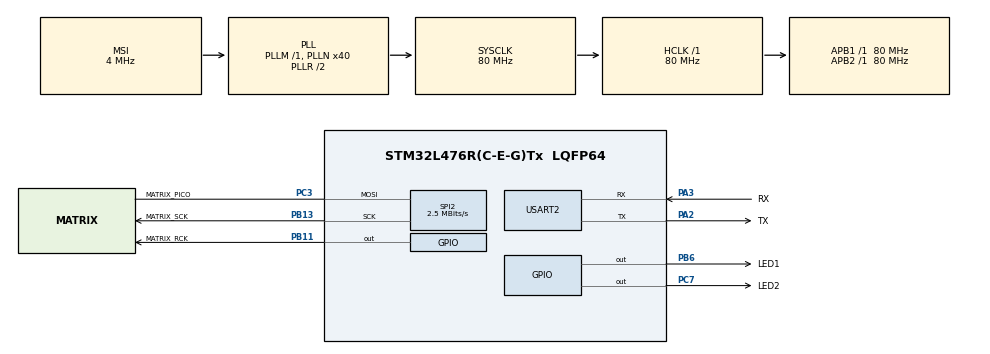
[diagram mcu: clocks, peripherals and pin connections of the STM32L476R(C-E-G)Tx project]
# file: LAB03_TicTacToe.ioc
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Mcu.Family=STM32L4
Mcu.Name=STM32L476R(C-E-G)Tx
Mcu.Package=LQFP64
NVIC.PriorityGroup=NVIC_PRIORITYGROUP_4
PA2.GPIO_Label=TX
PA2.Mode=Asynchronous
PA2.Signal=USART2_TX
PA3.GPIO_Label=RX
PA3.Mode=Asynchronous
PA3.Signal=USART2_RX
PB11.GPIO_Label=MATRIX_RCK
PB11.Signal=GPIO_Output
PB13.GPIO_Label=MATRIX_SCK
PB13.Mode=Simplex_Bidirectional_Master
PB13.Signal=SPI2_SCK
PB6.GPIO_Label=LED1
PB6.Signal=GPIO_Output
PC3.GPIO_Label=MATRIX_PICO
PC3.Mode=Simplex_Bidirectional_Master
PC3.Signal=SPI2_MOSI
PC7.GPIO_Label=LED2
PC7.Signal=GPIO_Output
ProjectManager.HeapSize=0x200
ProjectManager.StackSize=0x400
ProjectManager.TargetToolchain=STM32CubeIDE
RCC.ADCFreq_Value=32000000
RCC.AHBFreq_Value=80000000
RCC.APB1Freq_Value=80000000
RCC.APB1TimFreq_Value=80000000
RCC.APB2Freq_Value=80000000
RCC.APB2TimFreq_Value=80000000
RCC.CortexFreq_Value=80000000
RCC.HCLKFreq_Value=80000000
RCC.HSE_VALUE=8000000
RCC.HSI_VALUE=16000000
RCC.LSE_VALUE=32768
RCC.MSI_VALUE=4000000
RCC.PLLN=40
RCC.PLLSAI1N=16
RCC.SYSCLKFreq_VALUE=80000000
RCC.SYSCLKSource=RCC_SYSCLKSOURCE_PLLCLK
RCC.USBFreq_Value=32000000
RCC.VCOOutputFreq_Value=160000000
SPI2.BaudRatePrescaler=SPI_BAUDRATEPRESCALER_32
SPI2.CalculateBaudRate=2.5 MBits/s
SPI2.DataSize=SPI_DATASIZE_8BIT
SPI2.Direction=SPI_DIRECTION_1LINE
SPI2.Mode=SPI_MODE_MASTER
SPI2.VirtualType=VM_MASTER
USART2.VirtualMode-Asynchronous=VM_ASYNC
VP_RNG_VS_RNG.Mode=RNG_Activate
board=custom

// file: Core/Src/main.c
/* USER CODE BEGIN Header */
/**
 ******************************************************************************main.c
 * @file           : main.c
 * @brief          : Main program body
 ******************************************************************************
 * @attention
 *
 * Copyright (c) 2023 STMicroelectronics.
 * All rights reserved.
 *
 * This software is licensed under terms that can be found in the LICENSE file
 * in the root directory of this software component.
 * If no LICENSE file comes with this software, it is provided AS-IS.
 *
 ******************************************************************************
 */
/* USER CODE END Header */
#include "main.h"

/* USER CODE BEGIN Includes */
#include "tictactoe.h"
/* USER CODE END Includes */

RNG_HandleTypeDef hrng;

SPI_HandleTypeDef hspi2;

UART_HandleTypeDef huart2;

void SystemClock_Config(void);
static void MX_GPIO_Init(void);
static void MX_SPI2_Init(void);
static void MX_RNG_Init(void);
static void MX_USART2_UART_Init(void);

int main(void) {

  /* MCU Configuration--------------------------------------------------------*/

  /* Reset of all peripherals, Initializes the Flash interface and the Systick. */
  HAL_Init();

  /* Configure the system clock */
  SystemClock_Config();

  /* Initialize all configured peripherals */
  MX_GPIO_Init();
  MX_SPI2_Init();
  MX_RNG_Init();
  MX_USART2_UART_Init();
  /* USER CODE BEGIN 2 */

  tictactoe_run(); // Never returns

  /* USER CODE END 2 */

  /* Infinite loop */

}

void SystemClock_Config(void) {
  RCC_OscInitTypeDef RCC_OscInitStruct = {0};
  RCC_ClkInitTypeDef RCC_ClkInitStruct = {0};

  /** Configure the main internal regulator output voltage
   */
  if (HAL_PWREx_ControlVoltageScaling(PWR_REGULATOR_VOLTAGE_SCALE1) != HAL_OK) {
    Error_Handler();
  }

  /** Initializes the RCC Oscillators according to the specified parameters
   * in the RCC_OscInitTypeDef structure.
   */
  RCC_OscInitStruct.OscillatorType = RCC_OSCILLATORTYPE_MSI;
  RCC_OscInitStruct.MSIState = RCC_MSI_ON;
  RCC_OscInitStruct.MSICalibrationValue = 0;
  RCC_OscInitStruct.MSIClockRange = RCC_MSIRANGE_6;
  RCC_OscInitStruct.PLL.PLLState = RCC_PLL_ON;
  RCC_OscInitStruct.PLL.PLLSource = RCC_PLLSOURCE_MSI;
  RCC_OscInitStruct.PLL.PLLM = 1;
  RCC_OscInitStruct.PLL.PLLN = 40;
  RCC_OscInitStruct.PLL.PLLP = RCC_PLLP_DIV7;
  RCC_OscInitStruct.PLL.PLLQ = RCC_PLLQ_DIV2;
  RCC_OscInitStruct.PLL.PLLR = RCC_PLLR_DIV2;
  if (HAL_RCC_OscConfig(&RCC_OscInitStruct) != HAL_OK) {
    Error_Handler();
  }

  /** Initializes the CPU, AHB and APB buses clocks
   */
  RCC_ClkInitStruct.ClockType = RCC_CLOCKTYPE_HCLK | RCC_CLOCKTYPE_SYSCLK | RCC_CLOCKTYPE_PCLK1 | RCC_CLOCKTYPE_PCLK2;
  RCC_ClkInitStruct.SYSCLKSource = RCC_SYSCLKSOURCE_PLLCLK;
  RCC_ClkInitStruct.AHBCLKDivider = RCC_SYSCLK_DIV1;
  RCC_ClkInitStruct.APB1CLKDivider = RCC_HCLK_DIV1;
  RCC_ClkInitStruct.APB2CLKDivider = RCC_HCLK_DIV1;

  if (HAL_RCC_ClockConfig(&RCC_ClkInitStruct, FLASH_LATENCY_4) != HAL_OK) {
    Error_Handler();
  }
}

static void MX_RNG_Init(void) {

  hrng.Instance = RNG;
  if (HAL_RNG_Init(&hrng) != HAL_OK) {
    Error_Handler();
  }
}

static void MX_SPI2_Init(void) {

  /* SPI2 parameter configuration*/
  hspi2.Instance = SPI2;
  hspi2.Init.Mode = SPI_MODE_MASTER;
  hspi2.Init.Direction = SPI_DIRECTION_1LINE;
  hspi2.Init.DataSize = SPI_DATASIZE_8BIT;
  hspi2.Init.CLKPolarity = SPI_POLARITY_LOW;
  hspi2.Init.CLKPhase = SPI_PHASE_1EDGE;
  hspi2.Init.NSS = SPI_NSS_SOFT;
  hspi2.Init.BaudRatePrescaler = SPI_BAUDRATEPRESCALER_32;
  hspi2.Init.FirstBit = SPI_FIRSTBIT_MSB;
  hspi2.Init.TIMode = SPI_TIMODE_DISABLE;
  hspi2.Init.CRCCalculation = SPI_CRCCALCULATION_DISABLE;
  hspi2.Init.CRCPolynomial = 7;
  hspi2.Init.CRCLength = SPI_CRC_LENGTH_DATASIZE;
  hspi2.Init.NSSPMode = SPI_NSS_PULSE_ENABLE;
  if (HAL_SPI_Init(&hspi2) != HAL_OK) {
    Error_Handler();
  }
}

static void MX_USART2_UART_Init(void) {

  huart2.Instance = USART2;
  huart2.Init.BaudRate = 115200;
  huart2.Init.WordLength = UART_WORDLENGTH_8B;
  huart2.Init.StopBits = UART_STOPBITS_1;
  huart2.Init.Parity = UART_PARITY_NONE;
  huart2.Init.Mode = UART_MODE_TX_RX;
  huart2.Init.HwFlowCtl = UART_HWCONTROL_NONE;
  huart2.Init.OverSampling = UART_OVERSAMPLING_16;
  huart2.Init.OneBitSampling = UART_ONE_BIT_SAMPLE_DISABLE;
  huart2.AdvancedInit.AdvFeatureInit = UART_ADVFEATURE_NO_INIT;
  if (HAL_UART_Init(&huart2) != HAL_OK) {
    Error_Handler();
  }
}

static void MX_GPIO_Init(void) {
  GPIO_InitTypeDef GPIO_InitStruct = {0};

  /* GPIO Ports Clock Enable */
  __HAL_RCC_GPIOC_CLK_ENABLE();
  __HAL_RCC_GPIOA_CLK_ENABLE();
  __HAL_RCC_GPIOB_CLK_ENABLE();

  /*Configure GPIO pin Output Level */
  HAL_GPIO_WritePin(GPIOB, MATRIX_RCK_Pin | LED1_Pin, GPIO_PIN_RESET);

  /*Configure GPIO pin Output Level */
  HAL_GPIO_WritePin(LED2_GPIO_Port, LED2_Pin, GPIO_PIN_RESET);

  /*Configure GPIO pins : MATRIX_RCK_Pin LED1_Pin */
  GPIO_InitStruct.Pin = MATRIX_RCK_Pin | LED1_Pin;
  GPIO_InitStruct.Mode = GPIO_MODE_OUTPUT_PP;
  GPIO_InitStruct.Pull = GPIO_NOPULL;
  GPIO_InitStruct.Speed = GPIO_SPEED_FREQ_LOW;
  HAL_GPIO_Init(GPIOB, &GPIO_InitStruct);

  /*Configure GPIO pin : LED2_Pin */
  GPIO_InitStruct.Pin = LED2_Pin;
  GPIO_InitStruct.Mode = GPIO_MODE_OUTPUT_PP;
  GPIO_InitStruct.Pull = GPIO_NOPULL;
  GPIO_InitStruct.Speed = GPIO_SPEED_FREQ_LOW;
  HAL_GPIO_Init(LED2_GPIO_Port, &GPIO_InitStruct);

}

/* USER CODE BEGIN 4 */

uint32_t tictactoe_get_input(void) {
  // TODO: Complete this function:
  // TODO: Part 1:
  //       1) Receive a single byte via UART. If the UART receive functions indicates
  //          that an error occurred, return 0.
  uint8_t buffer;
  if (HAL_UART_Receive(&huart2, &buffer, 1, HAL_MAX_DELAY) != HAL_OK) {
    return 0;
  }
  // TODO: Part 2:
  //       2) If the byte received corresponds to the ASCII characters ('1'-'9'),
  //          return it's value (1-9)
  //       3) If any other byte was received, return 0.
  if (buffer < (uint8_t)'1' || (uint8_t) '9' < buffer ) return 0; // outside of range
  else return (buffer - '0');
}

uint32_t tictactoe_get_random_number(void) {
  // This function uses the RNG peripheral to generate a random number.
  uint32_t val;
  HAL_RNG_GenerateRandomNumber(&hrng, &val);
  return val;
}

void tictactoe_write_display(uint32_t red, uint32_t green) {
  // This function uses the SPI peripheral (a serial bus) to
  // write to the LED matrix on the shield.

  // Ensure RCK is low:
  HAL_GPIO_WritePin(MATRIX_RCK_GPIO_Port, MATRIX_RCK_Pin, GPIO_PIN_RESET);

  // Construct 3 byte buffer:
  uint8_t buf[] = {
      red >> 4,
      (red & 0xF) << 4 | (green >> 8),
      green & 0xff,
  };

  // Transmit:
  HAL_SPI_Transmit(&hspi2, buf, 3, 300);

  // Latch:
  HAL_GPIO_WritePin(MATRIX_RCK_GPIO_Port, MATRIX_RCK_Pin, GPIO_PIN_SET);
  HAL_Delay(1);
  HAL_GPIO_WritePin(MATRIX_RCK_GPIO_Port, MATRIX_RCK_Pin, GPIO_PIN_RESET);
}

void tictactoe_write_leds(uint32_t led1, uint32_t led2) {
  // This function sets LED1 and LED2 on the PBL shield.
  HAL_GPIO_WritePin(LED1_GPIO_Port, LED1_Pin, led1);
  HAL_GPIO_WritePin(LED2_GPIO_Port, LED2_Pin, led2);
}

/* USER CODE END 4 */

void Error_Handler(void) {
  __disable_irq();
  while (1) {
  }
}
